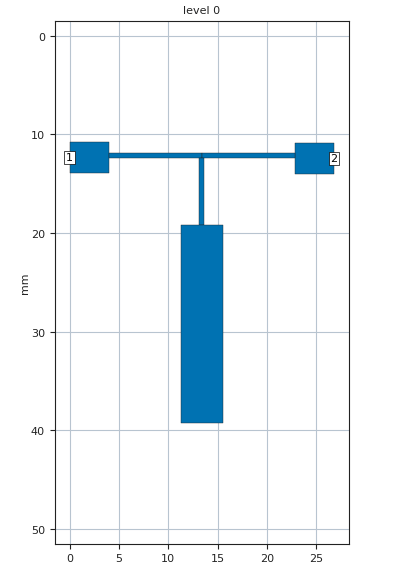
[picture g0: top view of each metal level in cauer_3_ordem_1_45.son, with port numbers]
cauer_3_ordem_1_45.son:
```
FTYP SONPROJ 13 ! Sonnet Project File
VER 15.53.lite
HEADER
LIC SL290709.106431 847bebfebdba DESKTOP-1CMJ3DP Arihe
DAT 05/13/2019 01:23:58
BUILT_BY_CREATED xgeom 15.53-Lite 04/13/2019 20:59:13
BUILT_BY_SAVED xgeom 15.53-Lite
MDATE 05/13/2019 01:21:02
HDATE 05/13/2019 01:21:02
END HEADER
DIM
FREQ GHZ
RSVY OHMM
IND NH
LNG MM
ANG DEG
CON /OH
CAP PF
RES OH
END DIM
FREQ
ABS 1.0e-9 3.0 
END FREQ
CONTROL
ABS
OPTIONS  -dj 
SPEED 0
CACHE_ABS 1
TARG_ABS 300
Q_ACC N
END CONTROL
GEO
DRP1 LEFT LINK
POLY 12 1
1
DRP1 RIGHT LINK
POLY 14 1
0
TMET "Lossless" 0 SUP 0 0 0 0
BMET "Lossless" 0 SUP 0 0 0 0
MET "Copper" 1 NOR 58000000 0 0.0347 
BOX 1 26.8 50 536 1000 20 0
      20 1 1 0 0 0 0 "Air"
      1.5306 4.1 1 0.02 0 0 0 "FR-4"
LORGN 0 50 U 
POR1 STD
POLY 12 1
3
1 50 0 0 0 2.500000207e-009 12.325 
POR1 STD
POLY 14 1
1
2 50 0 0 0 26.8 12.425 
NUM 6
0 5 0 N 12 1 1 100 100 0 0 0 Y
2.500000207e-009 10.775
4.000000002 10.775
4.000000002 13.875
2.500000207e-009 13.875
2.500000207e-009 10.775
END
0 5 0 N 14 1 1 100 100 0 0 0 Y
22.8 10.875
26.8 10.875
26.8 13.975
22.8 13.975
22.8 10.875
END
0 5 0 N 27 1 1 100 100 0 0 0 Y
4.000000535 11.925
13.40000053 11.925
13.40000053 12.425
4.000000535 12.425
4.000000535 11.925
END
0 5 0 N 28 1 1 100 100 0 0 0 Y
13.40000053 11.925
22.80000054 11.925
22.80000054 12.425
13.40000053 12.425
13.40000053 11.925
END
0 5 0 N 31 1 1 100 100 0 0 0 Y
13.15000036 12.425
13.65000036 12.425
13.65000036 19.225
13.15000036 19.225
13.15000036 12.425
END
0 5 0 N 34 1 1 100 100 0 0 0 Y
11.30000036 19.225
15.50000036 19.225
15.50000036 39.225
11.30000036 39.225
11.30000036 19.225
END
END GEO
OPT
MAX 100
VARS
END
END OPT
VARSWP
END VARSWP
QSG
IMPORT NO
EXTRA_METAL NO
UNITS YES
ALIGN NO
REF NO
VIEW_RES NO
METALS YES
USED NO
END QSG
```
